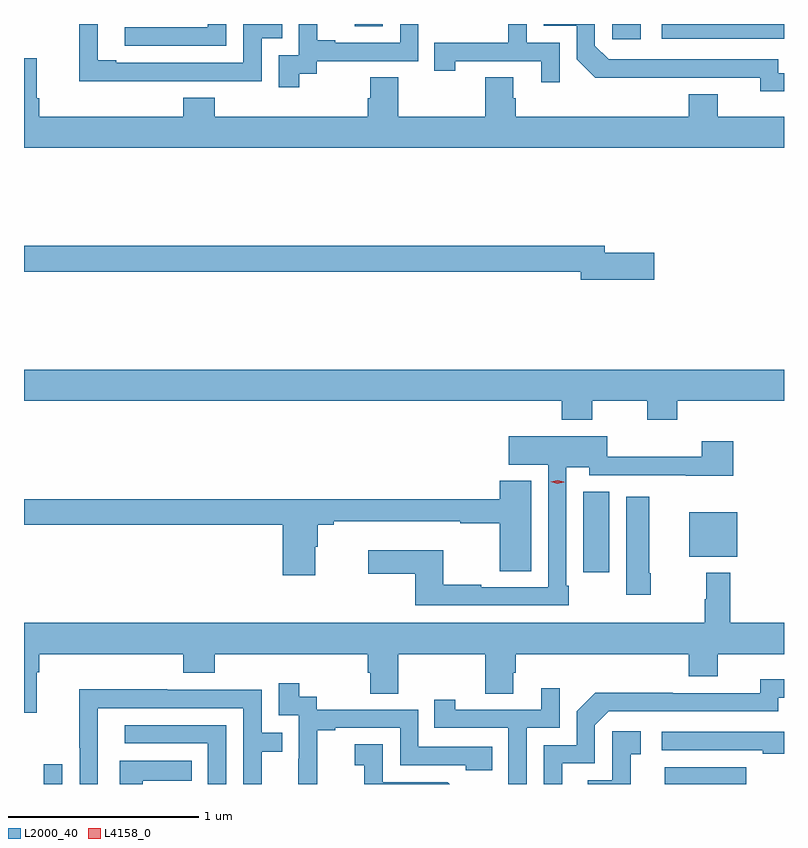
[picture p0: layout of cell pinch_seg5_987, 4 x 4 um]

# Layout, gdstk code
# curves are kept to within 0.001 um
import gdstk
lib = gdstk.Library(unit=1e-6, precision=1e-09)
def R(c, l, rs):  # rectangles x0, y0, x1, y1
    for r in rs: c.add(gdstk.rectangle(r[:2], r[2:], *l))
def P(c, l, *ps):  # polygons
    for p in ps: c.add(gdstk.Polygon(p, *l))
L2000_40 = (2000, 40)
L4158_0 = (4158, 0)

pinch_seg5_987 = lib.new_cell('pinch_seg5_987')
R(pinch_seg5_987, L2000_40, [(743.493,868.064,743.589,868.168), (746.762,868.064,747.19,868.153), (746.333,869.178,746.47,869.603), (746.891,869.261,747.142,869.494), (746.484,871.983,746.635,872.064), (746.745,871.986,747.389,872.064), (745.131,872.052,745.278,872.064)])
P(pinch_seg5_987, L2000_40, [(744.453,872.064),(744.357,872.064),(744.357,872.046),(743.919,872.046),(743.919,871.95),(744.453,871.95)],
  [(747.389,871.806),(747.36,871.806),(747.36,871.878),(746.466,871.878),(746.394,871.95),(746.394,872.064),(746.124,872.064),(746.124,872.055),(746.298,872.055),(746.298,871.878),(746.396,871.781),(747.264,871.782),(747.264,871.709),(747.389,871.709)],
  [(744.838,871.801),(744.93,871.801),(744.93,871.869),(745.464,871.869),(745.464,872.064),(745.368,872.064),(745.368,871.965),(745.027,871.965),(745.027,871.978),(744.932,871.978),(744.932,872.064),(744.834,872.064),(744.834,871.899),(744.729,871.899),(744.729,871.731),(744.838,871.731)],
  [(746.208,871.965),(746.034,871.965),(746.034,872.064),(745.938,872.064),(745.938,871.965),(745.549,871.965),(745.549,871.818),(745.66,871.818),(745.66,871.869),(746.111,871.869),(746.111,871.758),(746.208,871.758)],
  [(744.143,871.764),(744.639,871.764),(744.639,871.989),(744.749,871.989),(744.749,872.064),(744.543,872.064),(744.543,871.86),(743.875,871.86),(743.875,871.873),(743.778,871.873),(743.778,872.064),(743.68,872.064),(743.68,871.763),(744.143,871.763)],
  [(747.389,871.576),(747.04,871.576),(747.04,871.693),(746.888,871.693),(746.888,871.576),(745.976,871.576),(745.976,871.674),(745.963,871.674),(745.963,871.784),(745.816,871.784),(745.816,871.576),(745.359,871.576),(745.359,871.784),(745.211,871.784),(745.211,871.674),(745.199,871.674),(745.199,871.576),(744.392,871.576),(744.392,871.675),(744.227,871.675),(744.227,871.576),(743.468,871.576),(743.468,871.672),(743.455,871.672),(743.455,871.885),(743.389,871.885),(743.389,871.412),(747.389,871.412)],
  [(746.707,870.86),(746.446,870.86),(746.446,870.896),(743.389,870.896),(743.389,870.76),(746.318,870.76),(746.318,870.718),(746.707,870.718)],
  [(746.379,870.08),(746.668,870.08),(746.668,869.981),(746.828,869.981),(746.828,870.08),(747.389,870.08),(747.389,870.244),(743.389,870.244),(743.389,870.08),(746.219,870.08),(746.219,869.981),(746.379,869.981)],
  [(746.257,869.107),(746.244,869.107),(746.244,869.732),(746.364,869.732),(746.364,869.688),(746.873,869.688),(746.873,869.687),(747.122,869.687),(747.122,869.869),(746.957,869.869),(746.957,869.786),(746.46,869.786),(746.46,869.893),(745.941,869.893),(745.941,869.744),(746.148,869.744),(746.148,869.1),(745.796,869.1),(745.796,869.113),(745.596,869.113),(745.596,869.293),(745.2,869.293),(745.2,869.171),(745.448,869.171),(745.448,869.004),(746.257,869.004)],
  [(744.922,869.313),(744.935,869.313),(744.935,869.428),(745.018,869.428),(745.018,869.447),(745.684,869.447),(745.684,869.436),(745.892,869.436),(745.892,869.185),(746.059,869.185),(746.059,869.659),(745.892,869.659),(745.892,869.564),(743.389,869.564),(743.389,869.428),(744.752,869.428),(744.752,869.163),(744.922,869.163)],
  [(746.688,869.173),(746.68,869.173),(746.68,869.575),(746.558,869.575),(746.558,869.061),(746.688,869.061)],
  [(743.455,868.652),(743.468,868.652),(743.468,868.748),(744.227,868.748),(744.227,868.649),(744.392,868.649),(744.392,868.748),(745.199,868.748),(745.199,868.65),(745.211,868.65),(745.211,868.54),(745.359,868.54),(745.359,868.748),(745.816,868.748),(745.816,868.54),(745.963,868.54),(745.963,868.65),(745.976,868.65),(745.976,868.748),(746.888,868.748),(746.888,868.631),(747.04,868.631),(747.04,868.748),(747.389,868.748),(747.389,868.912),(747.107,868.912),(747.107,869.176),(746.979,869.176),(746.979,869.036),(746.971,869.036),(746.971,868.912),(743.389,868.912),(743.389,868.439),(743.455,868.439)],
  [(746.221,868.173),(746.394,868.173),(746.394,868.374),(746.466,868.446),(747.36,868.446),(747.36,868.518),(747.389,868.518),(747.389,868.615),(747.264,868.615),(747.264,868.542),(746.804,868.542),(746.804,868.544),(746.396,868.544),(746.298,868.446),(746.298,868.269),(746.124,868.269),(746.124,868.064),(746.221,868.064)],
  [(744.932,868.347),(745.027,868.347),(745.027,868.359),(745.368,868.359),(745.368,868.164),(745.713,868.164),(745.713,868.137),(745.853,868.137),(745.853,868.26),(745.464,868.26),(745.464,868.455),(744.93,868.455),(744.93,868.524),(744.838,868.524),(744.838,868.594),(744.729,868.594),(744.729,868.425),(744.834,868.425),(744.834,868.196),(744.833,868.196),(744.833,868.064),(744.932,868.064)],
  [(746.034,868.359),(746.208,868.359),(746.208,868.567),(746.111,868.567),(746.111,868.455),(745.66,868.455),(745.66,868.507),(745.549,868.507),(745.549,868.359),(745.938,868.359),(745.938,868.064),(746.034,868.064)],
  [(743.778,868.464),(744.543,868.464),(744.543,868.064),(744.639,868.064),(744.639,868.234),(744.749,868.234),(744.749,868.335),(744.639,868.335),(744.639,868.56),(744.143,868.56),(744.143,868.562),(743.68,868.562),(743.68,868.255),(743.682,868.255),(743.682,868.064),(743.778,868.064)],
  [(744.453,868.374),(743.919,868.374),(743.919,868.278),(744.357,868.278),(744.357,868.064),(744.453,868.064)],
  [(746.582,868.221),(746.635,868.221),(746.635,868.342),(746.484,868.342),(746.484,868.083),(746.355,868.083),(746.355,868.064),(746.582,868.064)],
  [(747.389,868.338),(746.745,868.338),(746.745,868.242),(747.277,868.242),(747.277,868.222),(747.389,868.222)],
  [(745.62,868.074),(745.278,868.074),(745.278,868.273),(745.131,868.273),(745.131,868.163),(745.18,868.163),(745.18,868.064),(745.63,868.064)],
  [(744.015,868.082),(744.272,868.082),(744.272,868.186),(743.894,868.186),(743.894,868.064),(744.015,868.064)])
P(pinch_seg5_987, L4158_0, [(746.196,869.644),(746.162,869.655),(746.162,869.655),(746.162,869.656),(746.197,869.664),(746.231,869.654),(746.232,869.653),(746.231,869.653)])

lib.write_gds('pinch_seg5_987.gds')
